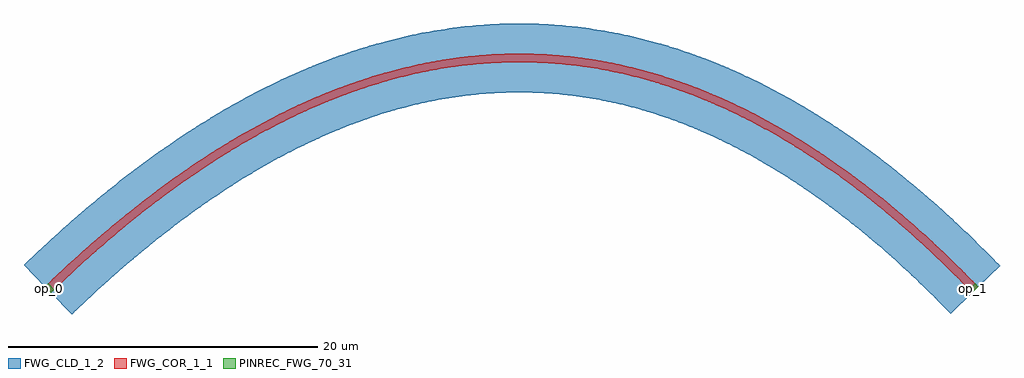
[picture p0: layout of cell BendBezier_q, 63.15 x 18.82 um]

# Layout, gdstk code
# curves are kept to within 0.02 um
import gdstk
lib = gdstk.Library(unit=1e-6, precision=1e-09)
def P(c, l, *ps):  # polygons
    for p in ps: c.add(gdstk.Polygon(p, *l))
FWG_COR_1_1 = (1, 1)
FWG_CLD_1_2 = (1, 2)
PINREC_FWG_70_31 = (70, 31)

c_wg = lib.new_cell('wg')
P(c_wg, FWG_COR_1_1, [(-0.191,0.198),(1.751,2.02),(3.689,3.725),(5.745,5.409),(7.556,6.784),(9.485,8.138),(11.531,9.449),(13.334,10.495),(15.254,11.497),(17.17,12.381),(19.144,13.171),(21.114,13.835),(23.022,14.359),(24.807,14.743),(26.709,15.039),(28.606,15.216),(30.5,15.275),(32.391,15.216),(34.276,15.038),(36.158,14.743),(38.036,14.329),(39.792,13.834),(41.778,13.148),(43.641,12.38),(45.5,11.495),(47.238,10.559),(49.203,9.372),(51.047,8.135),(52.886,6.78),(54.721,5.309),(56.551,3.72),(58.377,2.014),(60.198,0.191),(59.802,-0.191),(57.542,2.053),(55.503,3.916),(53.347,5.721),(51.186,7.361),(49.591,8.464),(47.994,9.477),(46.395,10.4),(44.793,11.234),(43.188,11.979),(41.353,12.72),(39.513,13.345),(37.786,13.825),(36.056,14.202),(34.208,14.493),(32.356,14.667),(30.5,14.725),(28.64,14.667),(26.776,14.493),(25.142,14.245),(23.269,13.853),(21.569,13.397),(19.746,12.804),(17.801,12.052),(15.969,11.232),(14.252,10.367),(12.887,9.612),(11.222,8.611),(9.553,7.521),(7.103,5.762),(5.006,4.109),(2.602,2.047),(0.191,-0.198)])
P(c_wg, FWG_CLD_1_2, [(-1.547,1.599),(0.439,3.463),(2.426,5.211),(4.539,6.941),(6.405,8.358),(8.398,9.757),(10.518,11.115),(12.516,12.271),(14.393,13.247),(16.395,14.171),(18.533,15.024),(20.67,15.738),(22.431,16.222),(24.45,16.66),(26.405,16.966),(28.482,17.162),(30.5,17.225),(32.386,17.17),(34.271,17.004),(36.272,16.705),(38.388,16.251),(40.373,15.696),(42.346,15.018),(44.436,14.161),(46.142,13.355),(48.081,12.322),(50.132,11.093),(51.93,9.897),(53.838,8.508),(55.734,7.003),(57.504,5.485),(59.499,3.641),(61.6,1.546),(58.4,-1.546),(56.638,0.218),(54.878,1.863),(53.118,3.391),(51.362,4.799),(49.389,6.244),(47.748,7.335),(46.11,8.324),(44.367,9.267),(42.623,10.097),(40.887,10.812),(39.154,11.414),(37.423,11.906),(35.695,12.286),(33.965,12.558),(32.232,12.721),(30.5,12.775),(28.764,12.721),(26.962,12.551),(25.042,12.243),(23.281,11.847),(21.512,11.34),(19.729,10.721),(17.707,9.887),(16.131,9.141),(14.317,8.181),(12.487,7.102),(10.649,5.908),(8.801,4.597),(6.942,3.168),(5.074,1.621),(3.432,0.17),(1.547,-1.599)])
P(c_wg, PINREC_FWG_70_31, [(0.407,0.011),(0.191,-0.198),(-0.191,0.198),(0.024,0.406)],
  [(59.989,0.407),(60.198,0.191),(59.802,-0.191),(59.594,0.025)])
c_wg.add(gdstk.Label('op_0', (0.108,0.104), layer=70, texttype=41))
c_wg.add(gdstk.Label('op_1', (59.896,0.108), layer=70, texttype=41))

bendbezier_q = lib.new_cell('BendBezier_q')
P(bendbezier_q, PINREC_FWG_70_31, [(0.407,0.011),(0.191,-0.198),(-0.191,0.198),(0.024,0.406)],
  [(59.989,0.407),(60.198,0.191),(59.802,-0.191),(59.594,0.025)])
bendbezier_q.add(gdstk.Reference(c_wg, (0,0)))
bendbezier_q.add(gdstk.Label('op_0', (0.108,0.104), layer=70, texttype=41))
bendbezier_q.add(gdstk.Label('op_1', (59.896,0.108), layer=70, texttype=41))

lib.write_gds('BendBezier_q.gds')
